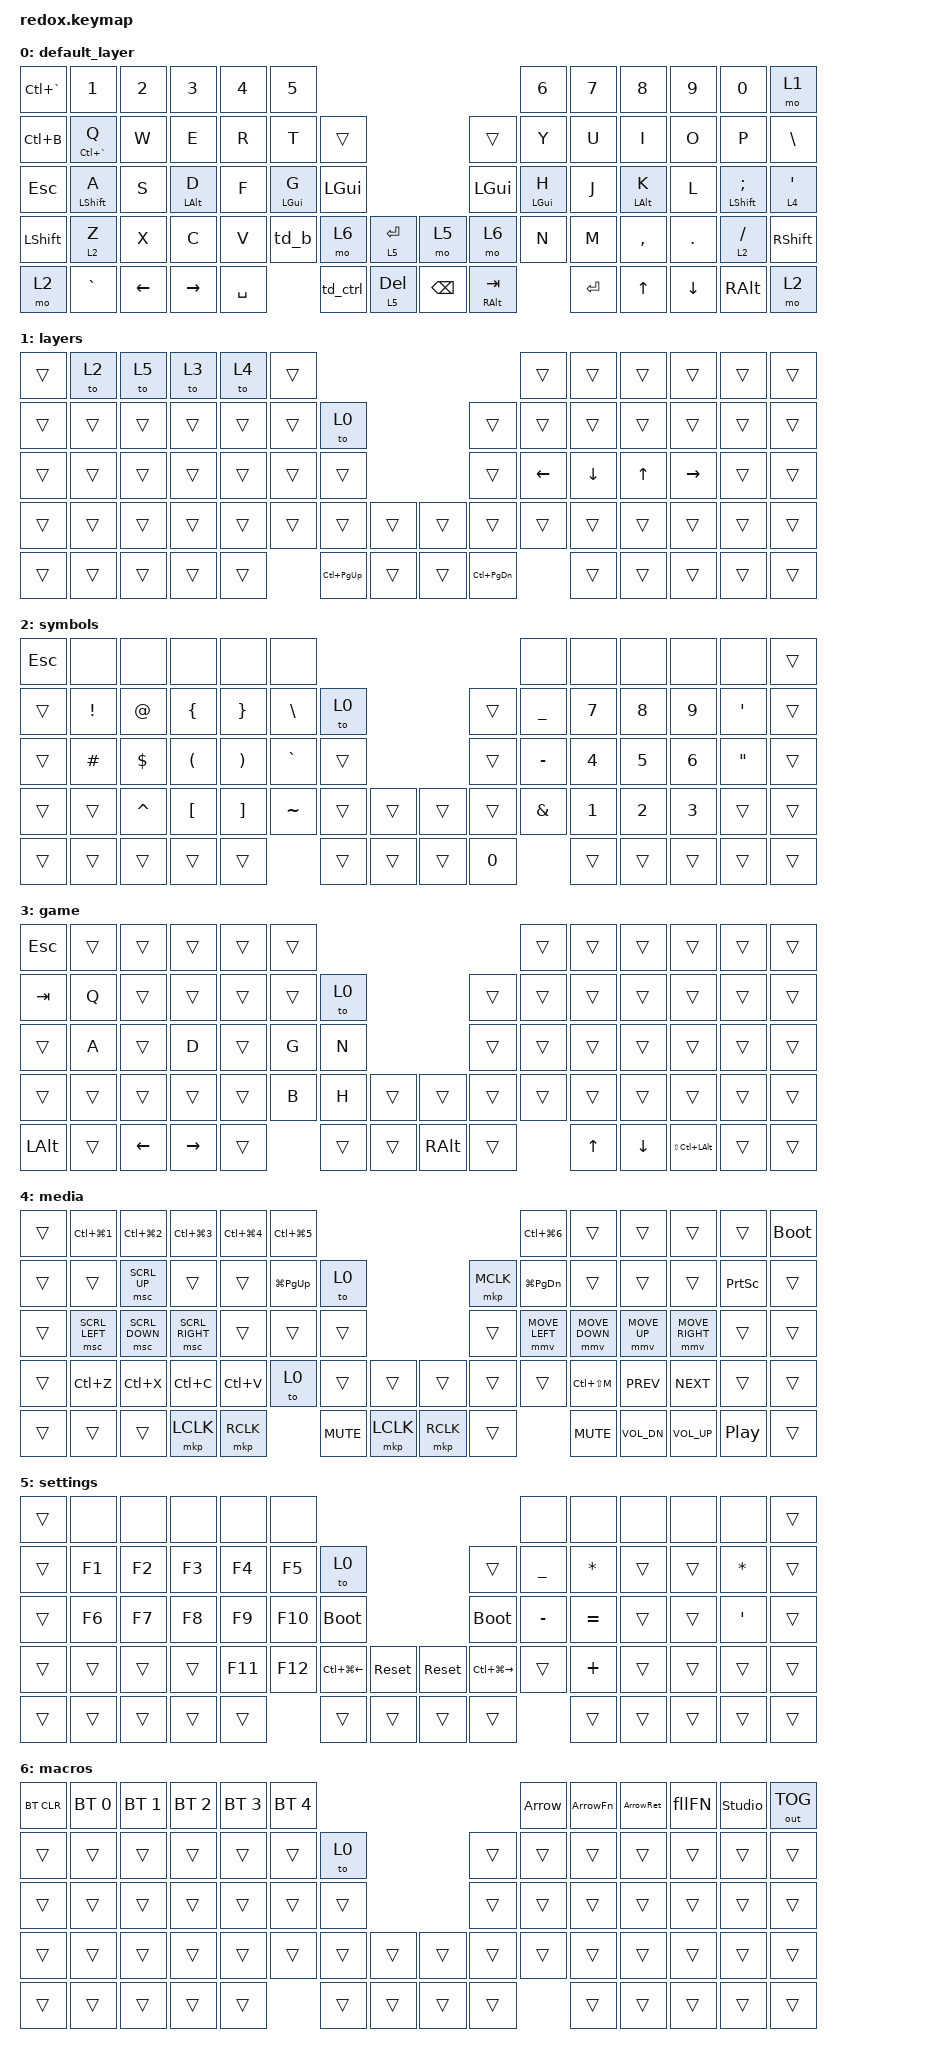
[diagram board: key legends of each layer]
/*
 * Copyright (c) 2021 The ZMK Contributors
 *
 * SPDX-License-Identifier: MIT
 */

#include <dt-bindings/zmk/mouse.h>
#include <behaviors.dtsi>
#include <dt-bindings/zmk/bt.h>
#include <dt-bindings/zmk/keys.h>
#include <dt-bindings/zmk/outputs.h>
#include <dt-bindings/zmk/pointing.h>

&mt {
    tapping-term-ms = <300>;
    hold-trigger-on-release;
    hold-trigger-key-positions = <27 29 31 34 36 38 60 62 61 63 64 65>;
};

/ {
    behaviors {
        // Q key: tap = Q, hold = LC(GRAVE) (terminal dropdown)
        // Matches QMK DUAL_FUNC_0 = LT(10, KC_B) custom: tap=Q, hold=LCTL(GRAVE)

        qht: q_hold_tap {
            compatible = "zmk,behavior-hold-tap";
            #binding-cells = <2>;
            flavor = "tap-preferred";
            tapping-term-ms = <200>;
            bindings = <&kp>, <&kp>;
        };

        // B key tap dance:
        //   1 tap  = B
        //   hold   = MO(layers)  [via &lt 1 B]
        //   2 taps = TO(media)   [layer_move(4) in QMK]

        td_b: tap_dance_b {
            compatible = "zmk,behavior-tap-dance";
            #binding-cells = <0>;
            tapping-term-ms = <200>;
            bindings = <&lt 1 B>, <&to 4>;
        };

        // Left thumb ctrl tap dance:
        //   1 tap/hold = LCTRL
        //   2 taps     = ENTER

        td_ctrl: tap_dance_ctrl {
            compatible = "zmk,behavior-tap-dance";
            #binding-cells = <0>;
            tapping-term-ms = <200>;
            bindings = <&kp LCTRL>, <&kp ENTER>;
        };
    };

    macros {
        Arrow: Arrow {
            compatible = "zmk,behavior-macro";
            label = "ARROW";
            #binding-cells = <0>;
            bindings = <&kp EQUAL &kp GT>;
        };

        ArrowFn: ArrowFn {
            compatible = "zmk,behavior-macro";
            label = "ARROWFN";
            #binding-cells = <0>;
            bindings = <&kp LPAR &kp RPAR &kp EQUAL &kp GT &kp LEFT_BRACE &kp RBRC>;
        };

        ArrowRet: ArrowRet {
            compatible = "zmk,behavior-macro";
            label = "ARROWRET";
            #binding-cells = <0>;
            bindings = <&kp EQUAL &kp GT &kp LPAR &kp LEFT_BRACE &kp RBRC &kp RPAR>;
        };

        fllFN: fllFN {
            compatible = "zmk,behavior-macro";
            #binding-cells = <0>;
            bindings = <&kp LPAR &kp RBKT &kp RBRC &kp RPAR &kp SPACE &kp EQUAL &kp GT &kp SPACE &kp RBKT &kp RET &kp RBRC>;
            label = "FLLFN";
        };

        OmarchyManu: OmarchyManu {
            compatible = "zmk,behavior-macro";
            #binding-cells = <0>;
            bindings = <&kp LEFT_ALT &kp SPACE>;
            label = "OMARCHYMANU";
        };
    };

    combos {
        compatible = "zmk,combos";

        // A + S → ESC

        combo_esc {
            timeout-ms = <50>;
            key-positions = <27 28>;
            bindings = <&kp ESC>;
        };

        // Q + W → 1

        combo_1 {
            timeout-ms = <50>;
            key-positions = <13 14>;
            bindings = <&kp N1>;
        };

        // W + E → 2

        combo_2 {
            timeout-ms = <50>;
            key-positions = <14 15>;
            bindings = <&kp N2>;
        };

        // E + R → 3

        combo_3 {
            timeout-ms = <50>;
            key-positions = <15 16>;
            bindings = <&kp N3>;
        };

        // R + T → 4

        combo_4 {
            timeout-ms = <50>;
            key-positions = <16 17>;
            bindings = <&kp N4>;
        };

        // Q + T → 5

        combo_5 {
            timeout-ms = <50>;
            key-positions = <13 17>;
            bindings = <&kp N5>;
        };
    };

    keymap {
        compatible = "zmk,keymap";

        // Layer 0 → QMK layer 0 (default)
        // Layer 1 → QMK layer 5 (layer switcher)
        // Layer 2 → QMK layer 1 (symbols + numpad)
        // Layer 3 → QMK layer 3 (game)
        // Layer 4 → QMK layer 4 (mouse + media)
        // Layer 5 → QMK layer 2 (function keys)
        // Layer 6 → ZMK-specific (arrow macros, BT)

        default_layer {
            bindings = <
&kp LC(GRAVE)  &kp N1            &kp N2    &kp N3      &kp N4     &kp N5                                                     &kp N6      &kp N7     &kp N8      &kp N9    &kp N0          &mo 1
&kp LC(B)      &qht LC(GRAVE) Q  &kp W     &kp E       &kp R      &kp T       &trans                           &trans        &kp Y       &kp U      &kp I       &kp O     &kp P           &kp BSLH
&kp ESC        &mt LSHFT A       &kp S     &mt LALT D  &kp F      &mt LGUI G  &kp LGUI                         &kp LGUI      &mt LGUI H  &kp J      &mt LALT K  &kp L     &mt LSHFT SEMI  &lt 4 SQT
&kp LSHFT      &lt 2 Z           &kp X     &kp C       &kp V      &td_b       &mo 6     &lt 5 ENTER  &mo 5     &mo 6         &kp N       &kp M      &kp COMMA   &kp DOT   &lt 2 FSLH      &kp RSHFT
&mo 2          &kp GRAVE         &kp LEFT  &kp RIGHT   &kp SPACE              &td_ctrl  &lt 5 DEL    &kp BSPC  &mt RALT TAB              &kp ENTER  &kp UP      &kp DOWN  &kp RALT        &mo 2
            >;
        };

        layers {
            // QMK layer 5: layer switcher
            // Row 2 right: LEFT/DOWN/UP/RIGHT navigation
            // Row 4 thumb: LC(PGUP) / LC(PGDN) for tab cycling

            bindings = <
&trans  &to 2   &to 5   &to 3   &to 4   &trans                                                      &trans    &trans    &trans  &trans     &trans  &trans
&trans  &trans  &trans  &trans  &trans  &trans  &to 0                            &trans             &trans    &trans    &trans  &trans     &trans  &trans
&trans  &trans  &trans  &trans  &trans  &trans  &trans                           &trans             &kp LEFT  &kp DOWN  &kp UP  &kp RIGHT  &trans  &trans
&trans  &trans  &trans  &trans  &trans  &trans  &trans           &trans  &trans  &trans             &trans    &trans    &trans  &trans     &trans  &trans
&trans  &trans  &trans  &trans  &trans          &kp LC(PAGE_UP)  &trans  &trans  &kp LC(PAGE_DOWN)            &trans    &trans  &trans     &trans  &trans
            >;
        };

        symbols {
            // QMK layer 1: symbols (left) + numpad (right)
            // Row 0: ESC + none guards
            // Row 1: !@{}\ / _789'
            // Row 2: #$()` / -456"
            // Row 3: ^^[]~ / &123
            // Row 4 thumb: 0

            bindings = <
&kp ESC  &none     &none      &none     &none     &none                                      &none      &none   &none   &none   &none    &trans
&trans   &kp EXCL  &kp AT     &kp LBRC  &kp RBRC  &kp BSLH   &to 0                   &trans  &kp UNDER  &kp N7  &kp N8  &kp N9  &kp SQT  &trans
&trans   &kp HASH  &kp DLLR   &kp LPAR  &kp RPAR  &kp GRAVE  &trans                  &trans  &kp MINUS  &kp N4  &kp N5  &kp N6  &kp DQT  &trans
&trans   &trans    &kp CARET  &kp LBKT  &kp RBKT  &kp TILDE  &trans  &trans  &trans  &trans  &kp AMPS   &kp N1  &kp N2  &kp N3  &trans   &trans
&trans   &trans    &trans     &trans    &trans               &trans  &trans  &trans  &kp N0             &trans  &trans  &trans  &trans   &trans
            >;
        };

        game {
            // QMK layer 3: game layer
            // WASD on row 2 (A=left, D=right), G=extra, B=action, H=inner palm key
            // N placed at row 2 inner (thumb upper has no Redox equivalent)
            // Row 4: LALT, LEFT, RIGHT + UP/DOWN on right

            bindings = <
&kp ESC   &trans  &trans    &trans     &trans  &trans                                    &trans  &trans  &trans    &trans            &trans  &trans
&kp TAB   &kp Q   &trans    &trans     &trans  &trans  &to 0                     &trans  &trans  &trans  &trans    &trans            &trans  &trans
&trans    &kp A   &trans    &kp D      &trans  &kp G   &kp N                     &trans  &trans  &trans  &trans    &trans            &trans  &trans
&trans    &trans  &trans    &trans     &trans  &kp B   &kp H   &trans  &trans    &trans  &trans  &trans  &trans    &trans            &trans  &trans
&kp LALT  &trans  &kp LEFT  &kp RIGHT  &trans          &trans  &trans  &kp RALT  &trans          &kp UP  &kp DOWN  &kp LS(LC(LALT))  &trans  &trans
            >;
        };

        media {
            // QMK layer 4: mouse + media
            // Row 0: LC(LG(1-6)) workspace switches, BOOTLOADER top-right
            // Row 1: scroll up, LG(PGUP/DN), screenshot
            // Row 2: scroll left/down/right | mouse move left/down/up/right
            // Row 3: undo/cut/copy/paste | mute mic, prev/next track
            // Row 4: mouse buttons + volume/media controls

            bindings = <
&trans  &kp LC(LG(N1))  &kp LC(LG(N2))  &kp LC(LG(N3))   &kp LC(LG(N4))  &kp LC(LG(N5))                                                &kp LC(LG(N6))     &trans          &trans        &trans           &trans     &bootloader
&trans  &trans          &msc SCRL_UP    &trans           &trans          &kp LG(PAGE_UP)  &to 0                             &mkp MCLK  &kp LG(PAGE_DOWN)  &trans          &trans        &trans           &kp PSCRN  &trans
&trans  &msc SCRL_LEFT  &msc SCRL_DOWN  &msc SCRL_RIGHT  &trans          &trans           &trans                            &trans     &mmv MOVE_LEFT     &mmv MOVE_DOWN  &mmv MOVE_UP  &mmv MOVE_RIGHT  &trans     &trans
&trans  &kp LC(Z)       &kp LC(X)       &kp LC(C)        &kp LC(V)       &to 0            &trans      &trans     &trans     &trans     &trans             &kp LC(LS(M))   &kp C_PREV    &kp C_NEXT       &trans     &trans
&trans  &trans          &trans          &mkp LCLK        &mkp RCLK                        &kp K_MUTE  &mkp LCLK  &mkp RCLK  &trans                        &kp K_MUTE      &kp C_VOL_DN  &kp C_VOL_UP     &kp C_PP   &trans
            >;
        };

        settings {
            // QMK layer 2: function keys
            // Row 1: F1-F5 (left), _/*/ASTRK symbols (right)
            // Row 2: F6-F10 (left), -/=/' symbols (right); inner keys = BOOTLOADER
            // Row 3: F11/F12 + LC(LG(←/→)) workspace move; inner = SYS_RESET; M pos = +

            bindings = <
&trans  &none   &none   &none   &none    &none                                                                 &none      &none      &none   &none   &none      &trans
&trans  &kp F1  &kp F2  &kp F3  &kp F4   &kp F5   &to 0                                     &trans             &kp UNDER  &kp ASTRK  &trans  &trans  &kp ASTRK  &trans
&trans  &kp F6  &kp F7  &kp F8  &kp F9   &kp F10  &bootloader                               &bootloader        &kp MINUS  &kp EQUAL  &trans  &trans  &kp SQT    &trans
&trans  &trans  &trans  &trans  &kp F11  &kp F12  &kp LC(LG(LEFT))  &sys_reset  &sys_reset  &kp LC(LG(RIGHT))  &trans     &kp PLUS   &trans  &trans  &trans     &trans
&trans  &trans  &trans  &trans  &trans            &trans            &trans      &trans      &trans                        &trans     &trans  &trans  &trans     &trans
            >;
        };

        macros {
            // ZMK-specific layer: arrow macros + BT controls
            // Row 0 right: Arrow/ArrowFn/ArrowRet/fllFN macros, OUT_TOG
            // Row 0 left: BT_CLR + BT_SEL 0-4

            bindings = <
&bt BT_CLR  &bt BT_SEL 0  &bt BT_SEL 1  &bt BT_SEL 2  &bt BT_SEL 3  &bt BT_SEL 4                                  &Arrow  &ArrowFn  &ArrowRet  &fllFN  &studio_unlock  &out OUT_TOG
&trans      &trans        &trans        &trans        &trans        &trans        &to 0                   &trans  &trans  &trans    &trans     &trans  &trans          &trans
&trans      &trans        &trans        &trans        &trans        &trans        &trans                  &trans  &trans  &trans    &trans     &trans  &trans          &trans
&trans      &trans        &trans        &trans        &trans        &trans        &trans  &trans  &trans  &trans  &trans  &trans    &trans     &trans  &trans          &trans
&trans      &trans        &trans        &trans        &trans                      &trans  &trans  &trans  &trans          &trans    &trans     &trans  &trans          &trans
            >;
        };
    };
};
